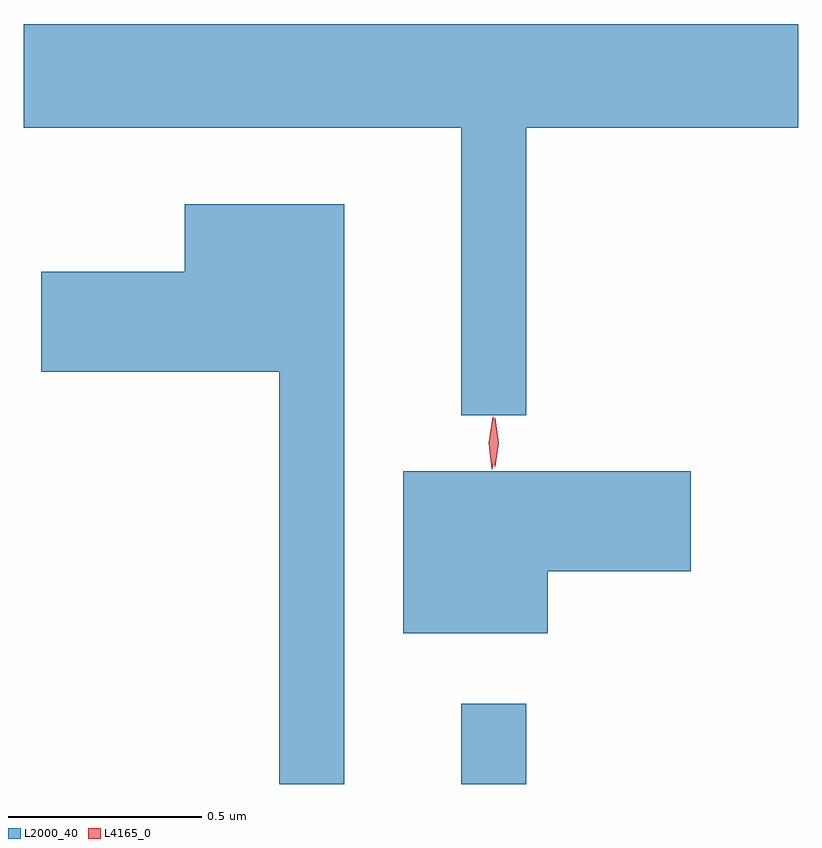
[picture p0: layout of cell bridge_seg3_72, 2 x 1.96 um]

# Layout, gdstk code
import gdstk
lib = gdstk.Library(unit=1e-6, precision=1e-09)
def R(c, l, rs):  # rectangles x0, y0, x1, y1
    for r in rs: c.add(gdstk.rectangle(r[:2], r[2:], *l))
def P(c, l, *ps):  # polygons
    for p in ps: c.add(gdstk.Polygon(p, *l))
L2000_40 = (2000, 40)
L4165_0 = (4165, 0)

bridge_seg3_72 = lib.new_cell('bridge_seg3_72')
R(bridge_seg3_72, L2000_40, [(1128.801,1135.421,1128.969,1135.628)])
P(bridge_seg3_72, L2000_40, [(1128.969,1137.116),(1129.671,1137.116),(1129.671,1137.384),(1127.671,1137.384),(1127.671,1137.116),(1128.801,1137.116),(1128.801,1136.373),(1128.969,1136.373)],
  [(1128.499,1136.919),(1128.086,1136.919),(1128.086,1136.744),(1127.716,1136.744),(1127.716,1136.486),(1128.331,1136.486),(1128.331,1135.421),(1128.499,1135.421)],
  [(1129.024,1135.971),(1129.394,1135.971),(1129.394,1136.229),(1128.651,1136.229),(1128.651,1135.811),(1129.024,1135.811)])
P(bridge_seg3_72, L4165_0, [(1128.887,1136.24),(1128.878,1136.303),(1128.887,1136.366),(1128.888,1136.367),(1128.888,1136.366),(1128.898,1136.303),(1128.888,1136.24),(1128.888,1136.24)],
  [(1128.88,1136.234),(1128.872,1136.302),(1128.882,1136.37),(1128.882,1136.37),(1128.883,1136.37),(1128.892,1136.302),(1128.881,1136.234),(1128.881,1136.234)])

lib.write_gds('bridge_seg3_72.gds')
